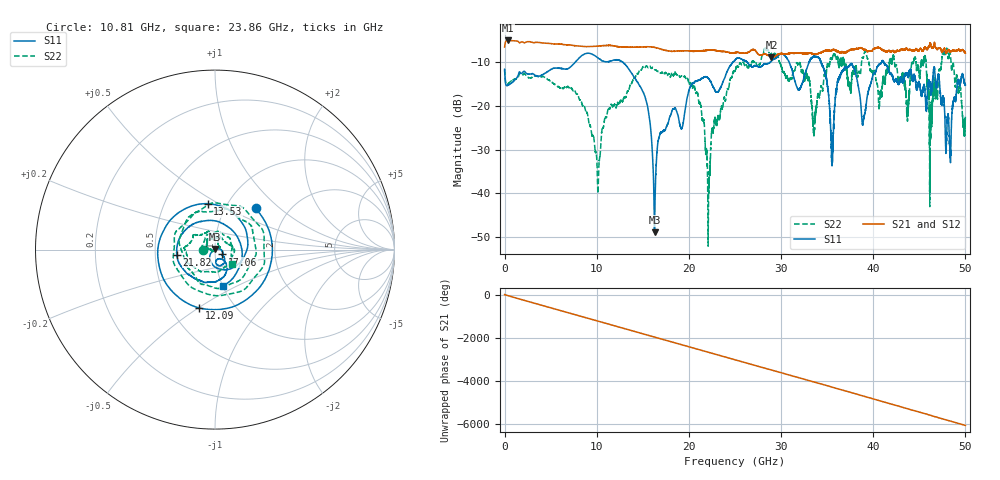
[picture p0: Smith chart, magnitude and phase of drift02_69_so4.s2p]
!Created with skrf (http://scikit-rf.org).
# Hz S RI R 50.0
!freq ReS11 ImS11 ReS21 ImS21 ReS12 ImS12 ReS22 ImS22
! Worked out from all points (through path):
!   10001 points, 300 kHz to 50 GHz, reference 50 ohm
!   highest |S21| = -5.04 dB at 325.3 MHz (marker M1); lowest = -8.9 dB at 28.96 GHz (marker M2)
!   group delay of S21, straight-line fit = 336 ps
!   lowest |S11| = -48.9 dB at 16.27 GHz (marker M3), VSWR 1.01, Z = 49.9 + j0.34 ohm
!   |S11| at or under -10 dB: start of sweep to 7.667 GHz; 12.82 GHz to 24.79 GHz (11.98 GHz wide, 63.7 % of centre); 41.14 GHz to end of sweep (the widest 3 of 9)
!   |S22| runs from -52.1 to -6.7 dB; largest |S21 - S12| = 0.033
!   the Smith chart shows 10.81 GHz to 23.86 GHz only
!   S11 on the Smith chart (normalised r, x): 10.81 GHz: 1.38, +0.70; 12.09 GHz: 0.69, -0.51; 13.53 GHz: 0.81, +0.44; 17.06 GHz: 1.08, -0.06; 21.82 GHz: 0.65, -0.04; 23.86 GHz: 1.01, -0.42
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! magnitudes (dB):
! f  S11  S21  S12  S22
! 300 kHz  -11.6  -6.5  -6.5  -11.7
! 325.3 MHz  -15.3  -5.0  -5.0  -15.1
! 8.335 GHz  -8.6  -6.4  -6.4  -19.1
! 10.11 GHz  -9.0  -6.3  -6.3  -38.8
! 10.81 GHz  -9.9  -6.2  -6.2  -23.6
! 12.09 GHz  -9.5  -6.4  -6.4  -20.4
! 13.53 GHz  -11.7  -6.6  -6.6  -16.0
! 16.27 GHz  -48.9  -6.6  -6.6  -11.7
! 16.67 GHz  -27.8  -6.9  -6.8  -12.1
! 17.06 GHz  -26.1  -7.1  -7.1  -12.4
! 21.82 GHz  -13.3  -7.3  -7.4  -30.7
! 23.86 GHz  -13.7  -7.6  -7.6  -18.2
! 25 GHz  -9.6  -7.8  -7.9  -11.9
! 28.96 GHz  -9.8  -8.9  -8.9  -8.0
! 33.34 GHz  -9.1  -8.0  -8.0  -20.2
! 35.54 GHz  -33.7  -7.3  -7.3  -9.2
! 36.78 GHz  -11.9  -7.8  -7.8  -9.6
! 41.67 GHz  -11.9  -7.4  -7.5  -12.1
! 45.5 GHz  -15.5  -6.9  -6.9  -9.4
! 46.26 GHz  -16.9  -6.2  -6.2  -21.5
! 48.13 GHz  -22.1  -7.1  -7.1  -9.2
! 50 GHz  -15.2  -7.9  -7.9  -21.9
